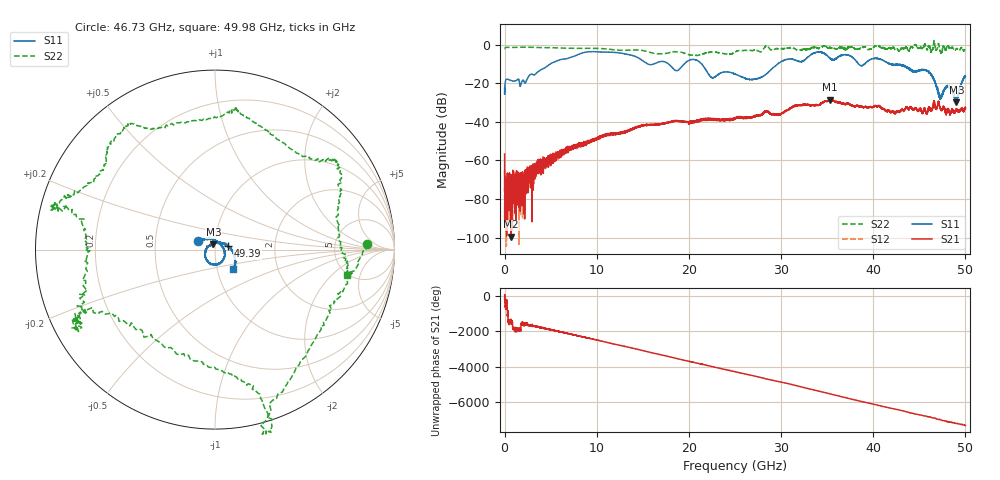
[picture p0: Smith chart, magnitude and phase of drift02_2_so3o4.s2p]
!Created with skrf (http://scikit-rf.org).
# Hz S RI R 50.0
!freq ReS11 ImS11 ReS21 ImS21 ReS12 ImS12 ReS22 ImS22
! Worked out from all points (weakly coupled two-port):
!   10001 points, 300 kHz to 50 GHz, reference 50 ohm
!   highest |S21| = -28.57 dB at 35.34 GHz (marker M1); lowest = -99.6 dB at 695.3 MHz (marker M2)
!   lowest |S11| = -30.0 dB at 49.02 GHz (marker M3), VSWR 1.07, Z = 49 + j2.97 ohm
!   |S11| at or under -10 dB: start of sweep to 4.957 GHz; 21.38 GHz to 29.63 GHz (8.257 GHz wide, 32.4 % of centre); 41.87 GHz to end of sweep (the widest 3 of 9)
!   |S22| runs from -5.7 to 2.1 dB; largest |S21 - S12| = 0.0032
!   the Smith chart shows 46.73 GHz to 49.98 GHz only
!   S11 on the Smith chart (normalised r, x): 46.73 GHz: 0.83, +0.08; 49.39 GHz: 1.15, +0.05; 49.98 GHz: 1.19, -0.26
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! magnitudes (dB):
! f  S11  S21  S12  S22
! 300 kHz  -22.8  -56.8  -65.3  -2.1
! 255.3 MHz  -17.9  -75.7  -71.9  -1.4
! 695.3 MHz  -18.6  -99.6  -69.5  -1.5
! 8.335 GHz  -4.5  -51.7  -51.5  -1.9
! 16.67 GHz  -9.1  -41.3  -41.5  -4.8
! 18.69 GHz  -13.5  -39.4  -39.5  -3.8
! 20.6 GHz  -7.7  -40.1  -39.9  -5.7
! 22.49 GHz  -17.1  -39.3  -38.7  -3.8
! 25 GHz  -15.3  -38.2  -38.4  -3.9
! 27.43 GHz  -17.7  -36.9  -36.5  -3.1
! 30.23 GHz  -8.3  -35.4  -35.2  -2.1
! 33.34 GHz  -4.9  -31.4  -31.4  -1.5
! 35.34 GHz  -7.2  -28.6  -28.8  -1.6
! 41.67 GHz  -9.7  -34.1  -34.1  -1.9
! 45.78 GHz  -13.4  -35.5  -35.8  -1.9
! 46.73 GHz  -19.7  -32.3  -32.0  -1.4
! 47.27 GHz  -27.1  -32.7  -33.1  -3.5
! 48.15 GHz  -21.4  -33.4  -33.4  -0.9
! 49.02 GHz  -30.0  -34.1  -33.9  -2.3
! 49.39 GHz  -22.5  -34.6  -34.4  -2.9
! 49.98 GHz  -16.6  -32.4  -32.9  -2.5
! 50 GHz  -16.5  -33.2  -32.8  -2.6
